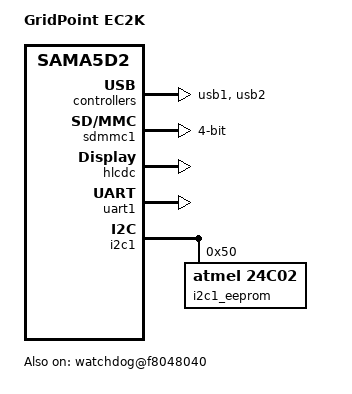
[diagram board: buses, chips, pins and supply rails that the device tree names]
/*
 * Device Tree for EC2000 board based on at91-sama5d27_som1_ek.dts.
 */

/dts-v1/;
#include <dt-bindings/gpio/gpio.h>
#include "sama5d27_som1.dtsi"
#ifdef CONFIG_CLK_SCMI
#include "sama5d2-optee.dtsi"
#endif

/ {
	model = "GridPoint EC2K";
	compatible = "atmel,sama5d27-som1-ek", "atmel,sama5d2", "atmel,sama5";

	chosen {
		bootph-all;
		stdout-path = &uart1;
	};

	aliases {
		serial0 = &uart1;
		i2c0    = &i2c1;
	};

	ahb {
		usb1: ohci@400000 {
			num-ports = <3>;
			atmel,vbus-gpio = <&pioA 42 0>;
			pinctrl-names = "default";
			pinctrl-0 = <&pinctrl_usb_default>;
			status = "okay";
		};

		usb2: ehci@500000 {
			status = "okay";
		};

		sdmmc0: sdio-host@a0000000 {
			status = "disabled";
		};

		sdmmc1: sdio-host@b0000000 {
			bus-width = <4>;
			pinctrl-names = "default";
			pinctrl-0 = <&pinctrl_sdmmc1_default>;
			status = "okay"; /* conflict with qspi0 */
			bootph-all;
		};

		apb {
			hlcdc: hlcdc@f0000000 {
				atmel,vl-bpix = <4>;
				atmel,guard-time = <1>;
				pinctrl-names = "default";
				pinctrl-0 = <&pinctrl_lcd_base
					     &pinctrl_lcd_pwm
					     &pinctrl_lcd_disp
					     &pinctrl_lcd_rgb888>;
				status = "okay";
				bootph-all;

				display-timings {
					bootph-all;
					480x272 {
						clock-frequency = <9000000>;
						hactive = <480>;
						vactive = <272>;
						hsync-len = <40 45 320>;
						hfront-porch = <4 5 65>;
						hback-porch = <36 40 255>;
						vfront-porch = <2 8 93>;
						vback-porch = <3 8 31>;
						vsync-len = <5 16 112>;
						bootph-all;
					};
				};
			};

			uart1: serial@f8020000 {
				pinctrl-names = "default";
				pinctrl-0 = <&pinctrl_uart1_default>;
				status = "okay";
				bootph-all;
			};

			watchdog@f8048040 {
				compatible = "atmel,at91sam9260-wdt";
				status = "okay";
			};

			i2c0: i2c@f8028000 {
				status = "disable";
			};

			i2c1: i2c@fc028000 {
				status = "okay";

				i2c1_eeprom: i2c1_eeprom@50 {
					compatible = "atmel,24c02";
					reg = <0x50>;
				};
			};

			pioA: pinctrl@fc038000 {
				pinctrl {
					pinctrl_lcd_base: pinctrl_lcd_base {
						pinmux = <PIN_PC5__LCDVSYNC>,
							 <PIN_PC6__LCDHSYNC>,
							 <PIN_PC8__LCDDEN>,
							 <PIN_PC7__LCDPCK>;
						bias-disable;
						bootph-all;
					};

					pinctrl_lcd_pwm: pinctrl_lcd_pwm {
						pinmux = <PIN_PC3__LCDPWM>;
						bias-disable;
						bootph-all;
					};

					pinctrl_lcd_disp: pinctrl_lcd_disp {
						pinmux = <PIN_PC4__LCDDISP>;
						bias-disable;
						bootph-all;
					};

					pinctrl_lcd_rgb888: pinctrl_lcd_rgb888 {
						pinmux = <PIN_PB11__LCDDAT0>,
							 <PIN_PB12__LCDDAT1>,
							 <PIN_PB13__LCDDAT2>,
							 <PIN_PB14__LCDDAT3>,
							 <PIN_PB15__LCDDAT4>,
							 <PIN_PB16__LCDDAT5>,
							 <PIN_PB17__LCDDAT6>,
							 <PIN_PB18__LCDDAT7>,
							 <PIN_PB19__LCDDAT8>,
							 <PIN_PB20__LCDDAT9>,
							 <PIN_PB21__LCDDAT10>,
							 <PIN_PB22__LCDDAT11>,
							 <PIN_PB23__LCDDAT12>,
							 <PIN_PB24__LCDDAT13>,
							 <PIN_PB25__LCDDAT14>,
							 <PIN_PB26__LCDDAT15>,
							 <PIN_PB27__LCDDAT16>,
							 <PIN_PB28__LCDDAT17>,
							 <PIN_PB29__LCDDAT18>,
							 <PIN_PB30__LCDDAT19>,
							 <PIN_PB31__LCDDAT20>,
							 <PIN_PC0__LCDDAT21>,
							 <PIN_PC1__LCDDAT22>,
							 <PIN_PC2__LCDDAT23>;
						bias-disable;
						bootph-all;
					};

					pinctrl_sdmmc0_default: sdmmc0_default {
						cmd_dat {
							pinmux = <PIN_PA1__SDMMC0_CMD>,
								 <PIN_PA2__SDMMC0_DAT0>,
								 <PIN_PA3__SDMMC0_DAT1>,
								 <PIN_PA4__SDMMC0_DAT2>,
								 <PIN_PA5__SDMMC0_DAT3>,
								 <PIN_PA6__SDMMC0_DAT4>,
								 <PIN_PA7__SDMMC0_DAT5>,
								 <PIN_PA8__SDMMC0_DAT6>,
								 <PIN_PA9__SDMMC0_DAT7>;
							bias-pull-up;
							bootph-all;
						};

						ck_cd {
							pinmux = <PIN_PA0__SDMMC0_CK>,
								 <PIN_PA10__SDMMC0_RSTN>,
								 <PIN_PA13__SDMMC0_CD>;
							bias-disable;
							bootph-all;
						};
					};

					pinctrl_sdmmc1_default: sdmmc1_default {
						cmd_dat {
							pinmux = <PIN_PA28__SDMMC1_CMD>,
								 <PIN_PA18__SDMMC1_DAT0>,
								 <PIN_PA19__SDMMC1_DAT1>,
								 <PIN_PA20__SDMMC1_DAT2>,
								 <PIN_PA21__SDMMC1_DAT3>;
							bias-pull-up;
							bootph-all;
						};

						ck_cd {
							pinmux = <PIN_PA22__SDMMC1_CK>,
								 <PIN_PA30__SDMMC1_CD>;
							bias-disable;
							bootph-all;
						};
					};

					pinctrl_uart1_default: uart1_default {
						pinmux = <PIN_PD2__URXD1>,
							 <PIN_PD3__UTXD1>;
						bias-disable;
						bootph-all;
					};

					pinctrl_usb_default: usb_default {
						pinmux = <PIN_PB10__GPIO>;
						bias-disable;
					};

					pinctrl_usba_vbus: usba_vbus {
						pinmux = <PIN_PA31__GPIO>;
						bias-disable;
					};

					pinctrl_onewire_tm_default: onewire_tm_default {
						pinmux = <PIN_PA17__GPIO>;
						bias-pull-up;
					};
				};
			};
		};
	};
};
